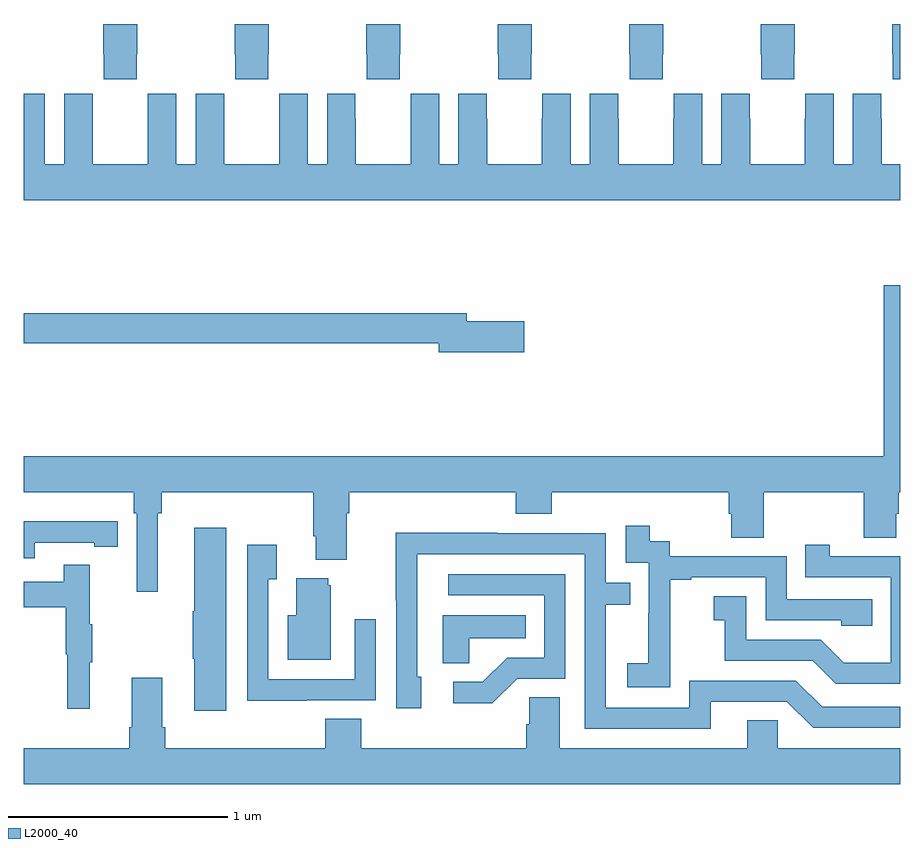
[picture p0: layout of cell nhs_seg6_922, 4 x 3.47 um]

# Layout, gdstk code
import gdstk
lib = gdstk.Library(unit=1e-6, precision=1e-09)
def P(c, l, *ps):  # polygons
    for p in ps: c.add(gdstk.Polygon(p, *l))
L2000_40 = (2000, 40)

nhs_seg6_922 = lib.new_cell('nhs_seg6_922')
P(nhs_seg6_922, L2000_40, [(173,921.5),(172.963,921.5),(172.963,921.361),(172.965,921.361),(172.965,921.249),(173,921.249)],
  [(172.515,921.361),(172.518,921.361),(172.518,921.5),(172.363,921.5),(172.363,921.361),(172.365,921.361),(172.365,921.249),(172.515,921.249)],
  [(171.915,921.361),(171.918,921.361),(171.918,921.5),(171.763,921.5),(171.763,921.361),(171.765,921.361),(171.765,921.249),(171.915,921.249)],
  [(171.315,921.361),(171.318,921.361),(171.318,921.5),(171.163,921.5),(171.163,921.361),(171.165,921.361),(171.165,921.249),(171.315,921.249)],
  [(170.715,921.361),(170.718,921.361),(170.718,921.5),(170.563,921.5),(170.563,921.361),(170.565,921.361),(170.565,921.249),(170.715,921.249)],
  [(170.115,921.361),(170.118,921.361),(170.118,921.5),(169.963,921.5),(169.963,921.361),(169.965,921.361),(169.965,921.249),(170.115,921.249)],
  [(169.515,921.361),(169.518,921.361),(169.518,921.5),(169.363,921.5),(169.363,921.361),(169.365,921.361),(169.365,921.249),(169.515,921.249)],
  [(173,920.86),(172.915,920.86),(172.915,921.068),(172.914,921.068),(172.914,921.181),(172.784,921.181),(172.784,920.86),(172.696,920.86),(172.696,921.181),(172.566,921.181),(172.566,921.068),(172.565,921.068),(172.565,920.86),(172.315,920.86),(172.315,921.068),(172.314,921.068),(172.314,921.181),(172.184,921.181),(172.184,920.86),(172.096,920.86),(172.096,921.181),(171.966,921.181),(171.966,921.068),(171.965,921.068),(171.965,920.86),(171.715,920.86),(171.715,921.068),(171.714,921.068),(171.714,921.181),(171.584,921.181),(171.584,920.86),(171.496,920.86),(171.496,921.181),(171.366,921.181),(171.366,921.068),(171.365,921.068),(171.365,920.86),(171.115,920.86),(171.115,921.068),(171.114,921.068),(171.114,921.181),(170.984,921.181),(170.984,920.86),(170.896,920.86),(170.896,921.181),(170.766,921.181),(170.766,921.068),(170.765,921.068),(170.765,920.86),(170.515,920.86),(170.515,921.068),(170.514,921.068),(170.514,921.181),(170.384,921.181),(170.384,920.86),(170.296,920.86),(170.296,921.181),(170.166,921.181),(170.166,921.068),(170.165,921.068),(170.165,920.86),(169.915,920.86),(169.915,921.068),(169.914,921.068),(169.914,921.181),(169.784,921.181),(169.784,920.86),(169.696,920.86),(169.696,921.181),(169.566,921.181),(169.566,921.068),(169.565,921.068),(169.565,920.86),(169.315,920.86),(169.315,921.068),(169.314,921.068),(169.314,921.181),(169.184,921.181),(169.184,920.86),(169.096,920.86),(169.096,921.181),(169,921.181),(169,920.696),(173,920.696)],
  [(169.612,919.268),(169.631,919.268),(169.631,919.364),(170.321,919.364),(170.321,919.162),(170.333,919.162),(170.333,919.055),(170.473,919.055),(170.473,919.268),(170.486,919.268),(170.486,919.364),(171.245,919.364),(171.245,919.265),(171.41,919.265),(171.41,919.364),(172.217,919.364),(172.217,919.266),(172.229,919.266),(172.229,919.156),(172.377,919.156),(172.377,919.364),(172.834,919.364),(172.834,919.156),(172.981,919.156),(172.981,919.266),(172.994,919.266),(172.994,919.364),(173,919.364),(173,920.308),(172.925,920.308),(172.925,919.528),(169,919.528),(169,919.364),(169.502,919.364),(169.502,919.268),(169.515,919.268),(169.515,918.909),(169.612,918.909)],
  [(171.283,920.144),(171.022,920.144),(171.022,920.18),(169,920.18),(169,920.044),(170.894,920.044),(170.894,920.002),(171.283,920.002)],
  [(169.05,919.134),(169.322,919.134),(169.322,919.114),(169.43,919.114),(169.43,919.23),(169.322,919.23),(169.322,919.231),(169,919.231),(169,919.062),(169.05,919.062)],
  [(171.951,918.679),(171.95,918.679),(171.95,918.963),(172.045,918.963),(172.045,918.975),(172.386,918.975),(172.386,918.78),(172.731,918.78),(172.731,918.753),(172.871,918.753),(172.871,918.876),(172.482,918.876),(172.482,919.071),(171.948,919.071),(171.948,919.14),(171.856,919.14),(171.856,919.21),(171.747,919.21),(171.747,919.041),(171.852,919.041),(171.852,918.812),(171.851,918.812),(171.851,918.583),(171.753,918.583),(171.753,918.473),(171.951,918.473)],
  [(169.924,919.201),(169.778,919.201),(169.778,918.821),(169.771,918.821),(169.771,918.604),(169.778,918.604),(169.778,918.366),(169.924,918.366)],
  [(172.135,918.408),(172.482,918.408),(172.602,918.288),(173,918.288),(173,918.384),(172.644,918.384),(172.524,918.504),(172.038,918.504),(172.038,918.381),(171.657,918.381),(171.657,918.85),(171.767,918.85),(171.767,918.951),(171.657,918.951),(171.657,919.176),(171.161,919.176),(171.161,919.178),(170.698,919.178),(170.698,918.871),(170.7,918.871),(170.7,918.378),(170.815,918.378),(170.815,918.522),(170.796,918.522),(170.796,919.08),(171.561,919.08),(171.561,918.285),(172.135,918.285)],
  [(170.291,918.414),(170.607,918.414),(170.607,918.784),(170.511,918.784),(170.511,918.51),(170.115,918.51),(170.115,918.967),(170.155,918.967),(170.155,919.123),(170.019,919.123),(170.019,918.413),(170.291,918.413)],
  [(173,919.071),(172.678,919.071),(172.678,919.123),(172.567,919.123),(172.567,918.975),(172.956,918.975),(172.956,918.586),(172.742,918.586),(172.638,918.69),(172.296,918.69),(172.296,918.889),(172.149,918.889),(172.149,918.779),(172.198,918.779),(172.198,918.594),(172.601,918.594),(172.706,918.489),(173,918.489)],
  [(169.301,918.587),(169.312,918.587),(169.312,918.761),(169.301,918.761),(169.301,919.033),(169.183,919.033),(169.183,918.954),(169,918.954),(169,918.838),(169.191,918.838),(169.191,918.624),(169.198,918.624),(169.198,918.375),(169.301,918.375)],
  [(171.252,918.513),(171.471,918.513),(171.471,918.99),(170.937,918.99),(170.937,918.894),(171.375,918.894),(171.375,918.609),(171.206,918.609),(171.095,918.498),(170.961,918.498),(170.961,918.401),(171.139,918.401)],
  [(170.401,918.939),(170.39,918.939),(170.39,918.97),(170.243,918.97),(170.243,918.802),(170.204,918.802),(170.204,918.599),(170.401,918.599)],
  [(171.033,918.698),(171.29,918.698),(171.29,918.802),(170.912,918.802),(170.912,918.583),(171.033,918.583)],
  [(173,918.196),(172.44,918.196),(172.44,918.323),(172.301,918.323),(172.301,918.196),(171.445,918.196),(171.445,918.428),(171.306,918.428),(171.306,918.305),(171.293,918.305),(171.293,918.196),(170.54,918.196),(170.54,918.329),(170.375,918.329),(170.375,918.196),(169.646,918.196),(169.646,918.292),(169.633,918.292),(169.633,918.517),(169.493,918.517),(169.493,918.292),(169.481,918.292),(169.481,918.196),(169,918.196),(169,918.032),(173,918.032)])

lib.write_gds('nhs_seg6_922.gds')
